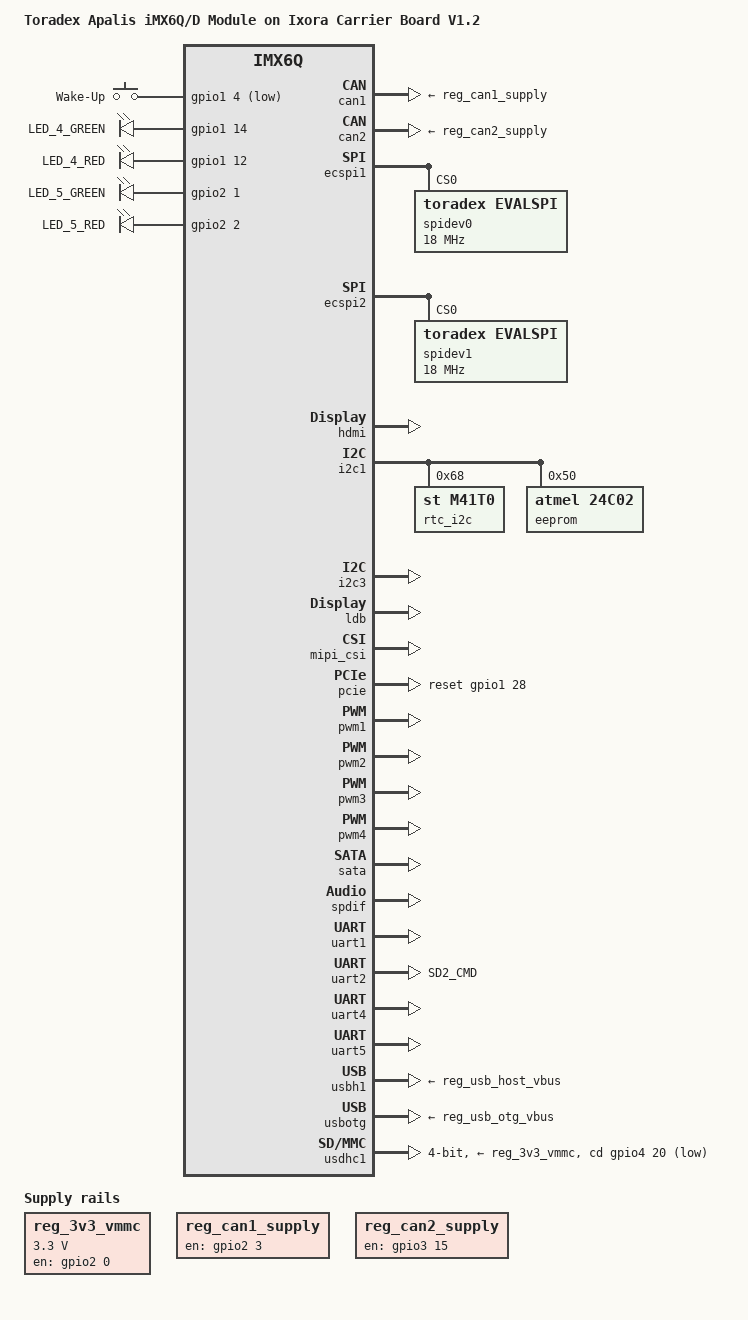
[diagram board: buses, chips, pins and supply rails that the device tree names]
// SPDX-License-Identifier: (GPL-2.0 OR X11)
/*
 * Copyright 2014-2020 Toradex AG
 * Copyright 2012 Freescale Semiconductor, Inc.
 * Copyright 2011 Linaro Ltd.
 */

/dts-v1/;

#include <dt-bindings/gpio/gpio.h>
#include <dt-bindings/input/input.h>
#include <dt-bindings/interrupt-controller/irq.h>
#include "imx6q.dtsi"
#include "imx6qdl-apalis.dtsi"

/ {
	model = "Toradex Apalis iMX6Q/D Module on Ixora Carrier Board V1.2";
	compatible = "toradex,apalis_imx6q-ixora-v1.2",
		     "toradex,apalis_imx6q-ixora", "toradex,apalis_imx6q",
		     "fsl,imx6q";

	aliases {
		i2c0 = &i2c1;
		i2c1 = &i2c3;
		i2c2 = &i2c2;
		rtc0 = &rtc_i2c;
		rtc1 = &snvs_rtc;
	};

	chosen {
		stdout-path = "serial0:115200n8";
	};

	gpio-keys {
		compatible = "gpio-keys";
		pinctrl-names = "default";
		pinctrl-0 = <&pinctrl_gpio_keys>;

		wakeup {
			label = "Wake-Up";
			gpios = <&gpio1 4 GPIO_ACTIVE_LOW>;
			linux,code = <KEY_WAKEUP>;
			debounce-interval = <10>;
			wakeup-source;
		};
	};

	leds {
		compatible = "gpio-leds";

		pinctrl-names = "default";
		pinctrl-0 = <&pinctrl_leds_ixora>;

		led4-green {
			label = "LED_4_GREEN";
			gpios = <&gpio1 14 GPIO_ACTIVE_HIGH>;
		};

		led4-red {
			label = "LED_4_RED";
			gpios = <&gpio1 12 GPIO_ACTIVE_HIGH>;
		};

		led5-green {
			label = "LED_5_GREEN";
			gpios = <&gpio2 1 GPIO_ACTIVE_HIGH>;
		};

		led5-red {
			label = "LED_5_RED";
			gpios = <&gpio2 2 GPIO_ACTIVE_HIGH>;
		};
	};

	 v4l2_cap_0 {
		compatible = "fsl,imx6q-v4l2-capture";
		ipu_id = <0>;
		csi_id = <0>;
		mclk_source = <0>;
		status = "okay";
	};

	v4l2_cap_2 { // mipi-csi2 camera
		compatible = "fsl,imx6q-v4l2-capture";
		ipu_id = <0>;
		csi_id = <1>;
		mclk_source = <0>;
		status = "okay";
	};

	reg_3v3_vmmc: regulator-3v3-vmmc {
		compatible = "regulator-fixed";
		pinctrl-names = "default";
		pinctrl-0 = <&pinctrl_enable_3v3_vmmc>;
		regulator-name = "3v3_vmmc";
		regulator-min-microvolt = <3300000>;
		regulator-max-microvolt = <3300000>;
		gpio = <&gpio2 0 GPIO_ACTIVE_HIGH>;
		startup-delay-us = <100>;
		enable-active-high;
	};

	reg_can1_supply: regulator-can1-supply {
		compatible = "regulator-fixed";
		pinctrl-names = "default";
		pinctrl-0 = <&pinctrl_enable_can1_power>;
		regulator-name = "can1_supply";
		gpio = <&gpio2 3 GPIO_ACTIVE_HIGH>;
		enable-active-high;
	};

	reg_can2_supply: regulator-can2-supply {
		compatible = "regulator-fixed";
		pinctrl-names = "default";
		pinctrl-0 = <&pinctrl_enable_can2_power>;
		regulator-name = "can2_supply";
		gpio = <&gpio3 15 GPIO_ACTIVE_HIGH>;
		enable-active-high;
	};
};

&can1 {
	status = "okay";
	xceiver-supply = <&reg_can1_supply>;
};

&can2 {
	status = "okay";
	xceiver-supply = <&reg_can2_supply>;
};

/* Apalis SPI1 */
&ecspi1 {
	status = "okay";

	spidev0: spidev@0 {
		compatible = "toradex,evalspi";
		reg = <0>;
		spi-max-frequency = <18000000>;
	};
};

/* Apalis SPI2 */
&ecspi2 {
	status = "okay";

	spidev1: spidev@0 {
		compatible = "toradex,evalspi";
		reg = <0>;
		spi-max-frequency = <18000000>;
	};
};

&hdmi {
	status = "okay";
};

/* I2C1_SDA/SCL on MXM3 209/211 (e.g. RTC on carrier board) */
&i2c1 {
	status = "okay";

	/* Atmel maxtouch controller */
	atmel_mxt_ts: atmel_mxt_ts@4a {
		compatible = "atmel,maxtouch";
		reg = <0x4a>;
		interrupt-parent = <&gpio6>;
		interrupts = <10 IRQ_TYPE_EDGE_FALLING>;
		reset-gpios = <&gpio6 9 GPIO_ACTIVE_HIGH>; /* MXM3 13 */
		status = "disabled";
	};

	/* M41T0M6 real time clock on carrier board */
	rtc_i2c: rtc@68 {
		compatible = "st,m41t0";
		reg = <0x68>;
	};

	eeprom: eeprom@50 {
		compatible = "atmel,24c02";
		reg = <0x50>;
		pagesize = <16>;
	};
};

/*
 * I2C3_SDA/SCL (CAM) on MXM3 pin 201/203 (e.g. camera sensor on carrier
 * board)
 */
&i2c3 {
	status = "okay";
};

&ldb {
	status = "okay";
};

&mipi_csi {
	ipu_id = <0>;
	csi_id = <1>;
	v_channel = <0>;
	lanes = <2>;
	status = "okay";
};

&pcie {
	pinctrl-names = "default";
	pinctrl-0 = <&pinctrl_reset_moci>;
	/* active-high meaning opposite of regular PERST# active-low polarity */
	reset-gpio = <&gpio1 28 GPIO_ACTIVE_HIGH>;
	reset-gpio-active-high;
	status = "okay";
};

&pwm1 {
	status = "okay";
};

&pwm2 {
	status = "okay";
};

&pwm3 {
	status = "okay";
};

&pwm4 {
	status = "okay";
};

&reg_usb_otg_vbus {
	status = "okay";
};

&reg_usb_host_vbus {
	status = "okay";
};

&sata {
	status = "okay";
};

&sound_spdif {
	status = "okay";
};

&spdif {
	status = "okay";
};

&uart1 {
	status = "okay";
};

&uart2 {
	status = "okay";
	pinctrl-names = "default";
	pinctrl-0 = <&pinctrl_uart2_dte &pinctrl_uart24_forceoff>;
#if 0
	linux,rs485-enabled-at-boot-time;
	rs485-rts-active-low;
	rs485-rx-during-tx;
#endif
};

&uart4 {
	status = "okay";
	/*
	 * note that uart4 is only working with pinctrl_uart24_forceoff that is
	 * already defined in &uart2
	 */
};

&uart5 {
	status = "okay";
};

&usbh1 {
	vbus-supply = <&reg_usb_host_vbus>;
	status = "okay";
};

&usbotg {
	vbus-supply = <&reg_usb_otg_vbus>;
	status = "okay";
};

/* MMC1 */
&usdhc1 {
	bus-width = <4>;
	cap-power-off-card;
	cd-gpios = <&gpio4 20 GPIO_ACTIVE_LOW>;
	pinctrl-names = "default", "sleep";
	pinctrl-0 = <&pinctrl_usdhc1_4bit &pinctrl_mmc_cd>;
	pinctrl-1 = <&pinctrl_usdhc1_4bit_sleep &pinctrl_mmc_cd_sleep>;
	status = "okay";
	vmmc-supply = <&reg_3v3_vmmc>;
};

&iomuxc {
	pinctrl_leds_ixora: ledsixoragrp {
		fsl,pins = <
			MX6QDL_PAD_SD2_DAT1__GPIO1_IO14 0x1b0b0
			MX6QDL_PAD_SD2_DAT3__GPIO1_IO12 0x1b0b0
			MX6QDL_PAD_NANDF_D1__GPIO2_IO01 0x1b0b0
			MX6QDL_PAD_NANDF_D2__GPIO2_IO02 0x1b0b0
		>;
	};

	pinctrl_uart24_forceoff: uart24_forceoff {
		fsl,pins = <
			MX6QDL_PAD_SD2_CMD__GPIO1_IO11 0x1b0b0
		>;
	};

	pinctrl_enable_3v3_vmmc: enable_3v3_vmmc {
		fsl,pins = <
			MX6QDL_PAD_NANDF_D0__GPIO2_IO00 0x1b0b0
		>;
	};

	pinctrl_enable_can1_power: enable_can1_power {
		fsl,pins = <
			MX6QDL_PAD_NANDF_D3__GPIO2_IO03 0x1b0b0
		>;
	};

	pinctrl_enable_can2_power: enable_can2_power {
		fsl,pins = <
			MX6QDL_PAD_EIM_DA15__GPIO3_IO15 0x1b0b0
		>;
	};

	pinctrl_mmc_cd_sleep: gpiommccdgrpslp {
		fsl,pins = <
			 /* MMC1 CD */
			MX6QDL_PAD_DI0_PIN4__GPIO4_IO20 0x0
		>;
	};

	pinctrl_usdhc1_4bit_sleep: usdhc1grp_4bit_sleep {
		fsl,pins = <
			MX6QDL_PAD_SD1_CMD__SD1_CMD	0x3000
			MX6QDL_PAD_SD1_CLK__SD1_CLK	0x3000
			MX6QDL_PAD_SD1_DAT0__SD1_DATA0	0x3000
			MX6QDL_PAD_SD1_DAT1__SD1_DATA1	0x3000
			MX6QDL_PAD_SD1_DAT2__SD1_DATA2	0x3000
			MX6QDL_PAD_SD1_DAT3__SD1_DATA3	0x3000
		>;
	};
};
